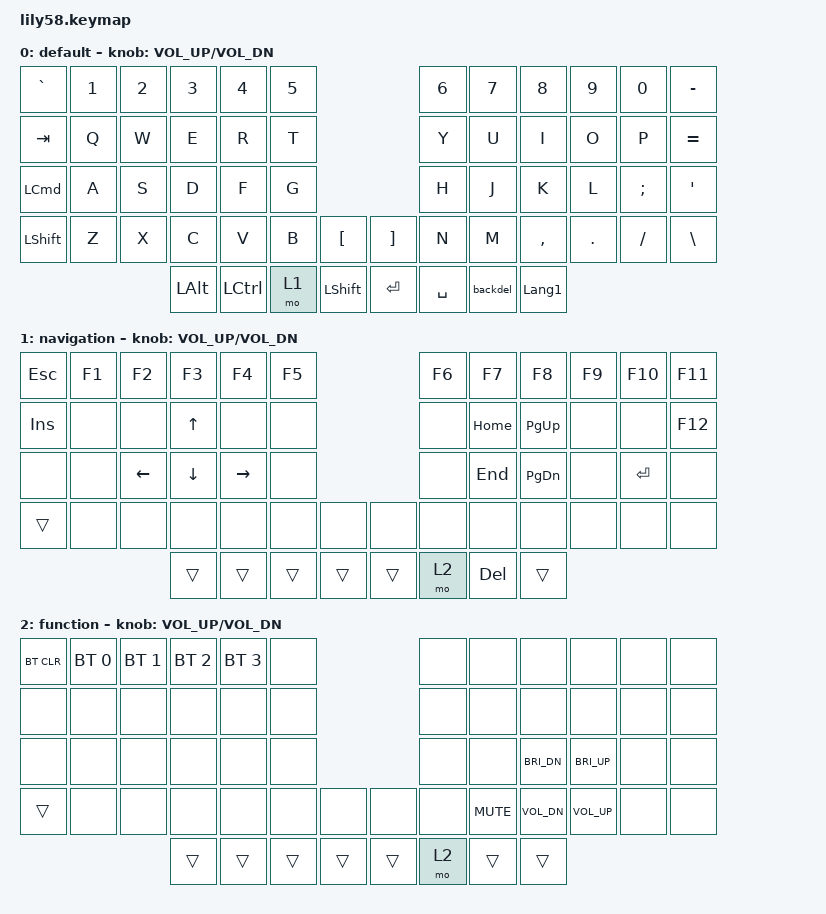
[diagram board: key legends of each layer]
/*
 * Copyright (c) 2020 The ZMK Contributors
 *
 * SPDX-License-Identifier: MIT
 */

#include <behaviors.dtsi>
#include <dt-bindings/zmk/bt.h>
#include <dt-bindings/zmk/keys.h>

#define DEFAULT 0
#define SHIFTED 1
#define NAV 2

&sk {
    release-after-ms = <100>;
    quick-release;
};

&sl { release-after-ms = <100>; };

/ {
    conditional_layers { compatible = "zmk,conditional-layers"; };

    behaviors {
        hl_tk: behavior_hl_tk_hold_preferred {
            compatible = "zmk,behavior-hold-tap";
            label = "mo_kp";
            #binding-cells = <2>;
            flavor = "hold-preferred";
            tapping-term-ms = <200>;
            bindings = <&mo>, <&kp>;
        };

        tk_hl: behavior_tk_hl_tap_preferred {
            compatible = "zmk,behavior-hold-tap";
            label = "tk_hl";
            #binding-cells = <2>;
            flavor = "balanced";
            tapping-term-ms = <150>;
            bindings = <&mo>, <&kp>;
        };

        tk_hk: behavior_tk_hk_tap_preferred {
            compatible = "zmk,behavior-hold-tap";
            label = "tk_hk";
            #binding-cells = <2>;
            flavor = "balanced";
            tapping-term-ms = <150>;
            bindings = <&kp>, <&kp>;
        };

        hk_tk: behavior_hk_kt_tap_preferred {
            compatible = "zmk,behavior-hold-tap";
            label = "hk_tk";
            #binding-cells = <2>;
            flavor = "hold-preferred";
            tapping-term-ms = <200>;
            bindings = <&kp>, <&kp>;
        };

        backdel: backspace_delete {
            compatible = "zmk,behavior-mod-morph";
            label = "BACKSPACE_DEL";
            #binding-cells = <0>;
            bindings = <&kp BACKSPACE>, <&kp DEL>;

            mods = <(MOD_LSFT|MOD_RSFT)>;
        };

        hk_qtk: hk_qtk {
            compatible = "zmk,behavior-hold-tap";
            label = "HK_QTK";
            bindings = <&kp>, <&kp>;

            #binding-cells = <2>;
            tapping-term-ms = <200>;
            quick-tap-ms = <270>;
        };

        hshift_tbsdel: hshift_tbsdel {
            compatible = "zmk,behavior-hold-tap";
            label = "HSHIFT_TBSDEL";
            bindings = <&kp>, <&backdel>;

            #binding-cells = <2>;
            tapping-term-ms = <200>;
            quick-tap-ms = <270>;
        };

        hl_ttl: hl_ttl {
            compatible = "zmk,behavior-hold-tap";
            label = "HL_TTL";
            bindings = <&mo>, <&tog>;

            #binding-cells = <2>;
            tapping-term-ms = <200>;
        };

        lh_pht: left_hand_positional_hold_tap {
            compatible = "zmk,behavior-hold-tap";
            label = "LEFT_POSITIONAL_HOLD_TAP";
            bindings = <&kp>, <&kp>;

            #binding-cells = <2>;
            tapping-term-ms = <250>;
            quick-tap-ms = <0>;

            /* hold-trigger-key-positions = <6 18 31 30 44 43 54 55 56 45 46 57 47 48 49 35 23 11 9 34 22 10 21 32 33 20 8 7 19>; */

            flavor = "tap-preferred";
        };

        rh_pht: right_hand_positional_hold_tap {
            compatible = "zmk,behavior-hold-tap";
            label = "RIGHT_POSITIONAL_HOLD_TAP";
            bindings = <&kp>, <&kp>;

            #binding-cells = <2>;
            tapping-term-ms = <250>;
            quick-tap-ms = <0>;
            flavor = "tap-preferred";

            /* hold-trigger-key-positions = <0 1 2 3 4 5 12 13 14 15 16 17 24 25 26 27 28 29 36 37 38 39 40 41 42 50 51 52 53>; */
        };
    };

    combos {
        compatible = "zmk,combos";

        ek {
            bindings = <&kp RIGHT_ALT>;
            key-positions = <51 55>;
        };
    };

    keymap {
        compatible = "zmk,keymap";

        default {
            bindings = <
&kp GRAVE         &kp NUMBER_1  &kp NUMBER_2  &kp NUMBER_3  &kp NUMBER_4  &kp NUMBER_5                                       &kp NUMBER_6  &kp NUMBER_7  &kp NUMBER_8    &kp NUMBER_9  &kp NUMBER_0  &kp MINUS
&kp TAB           &kp Q         &kp W         &kp E         &kp R         &kp T                                              &kp Y         &kp U         &kp I           &kp O         &kp P         &kp EQUAL
&kp LEFT_COMMAND  &kp A         &kp S         &kp D         &kp F         &kp G                                              &kp H         &kp J         &kp K           &kp L         &kp SEMI      &kp SQT
&kp LSHFT         &kp Z         &kp X         &kp C         &kp V         &kp B         &kp LEFT_BRACKET  &kp RIGHT_BRACKET  &kp N         &kp M         &kp COMMA       &kp DOT       &kp SLASH     &kp BACKSLASH
                                              &kp LEFT_ALT  &kp LCTRL     &mo 1         &kp LSHIFT        &kp ENTER          &kp SPACE     &backdel      &kp LANGUAGE_1
            >;

            sensor-bindings = <&inc_dec_kp C_VOL_UP C_VOL_DN>;
        };

        navigation {
            bindings = <
&kp ESC     &kp F1  &kp F2    &kp F3    &kp F4     &kp F5                  &kp F6  &kp F7      &kp F8         &kp F9  &kp F10    &kp F11
&kp INSERT  &none   &none     &kp UP    &none      &none                   &none   &kp HOME    &kp PAGE_UP    &none   &none      &kp F12
&none       &none   &kp LEFT  &kp DOWN  &kp RIGHT  &none                   &none   &kp END     &kp PAGE_DOWN  &none   &kp ENTER  &none
&trans      &none   &none     &none     &none      &none   &none   &none   &none   &none       &none          &none   &none      &none
                              &trans    &trans     &trans  &trans  &trans  &mo 2   &kp DELETE  &trans
            >;

            sensor-bindings = <&inc_dec_kp C_VOL_UP C_VOL_DN>;
        };

        function {
            bindings = <
&bt BT_CLR  &bt BT_SEL 0  &bt BT_SEL 1  &bt BT_SEL 2  &bt BT_SEL 3  &none                   &none  &none       &none         &none         &none  &none
&none       &none         &none         &none         &none         &none                   &none  &none       &none         &none         &none  &none
&none       &none         &none         &none         &none         &none                   &none  &none       &kp C_BRI_DN  &kp C_BRI_UP  &none  &none
&trans      &none         &none         &none         &none         &none   &none   &none   &none  &kp C_MUTE  &kp C_VOL_DN  &kp C_VOL_UP  &none  &none
                                        &trans        &trans        &trans  &trans  &trans  &mo 2  &trans      &trans
            >;

            sensor-bindings = <&inc_dec_kp C_VOL_UP C_VOL_DN>;
        };
    };
};
